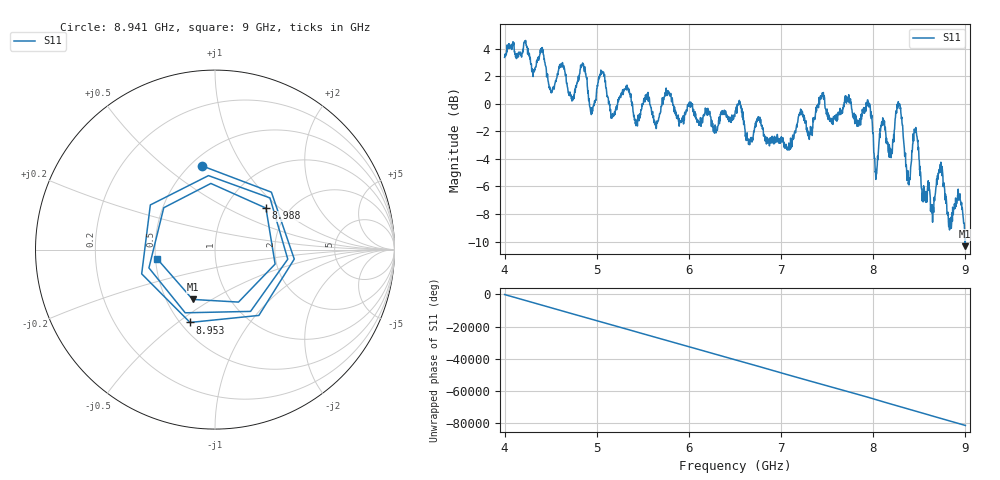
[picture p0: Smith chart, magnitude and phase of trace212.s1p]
! Created with skrf 1.8.0 (http://scikit-rf.org).
# Hz S RI R 50.0
!freq ReS11 ImS11
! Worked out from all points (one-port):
!   1601 points, 4 GHz to 9 GHz, reference 50 ohm
!   lowest |S11| = -10.3 dB at 8.997 GHz (marker M1), VSWR 1.87, Z = 33.8 - j20.7 ohm
!   |S11| at or under -10 dB: 8.994764 GHz to 8.998714 GHz (3.95 MHz wide, 0.0439 % of centre)
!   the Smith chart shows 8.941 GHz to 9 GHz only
!   S11 on the Smith chart (normalised r, x): 8.941 GHz: 0.57, +0.68; 8.953 GHz: 0.56, -0.56; 8.988 GHz: 1.53, +0.82; 9 GHz: 0.51, -0.06
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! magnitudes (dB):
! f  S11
! 4 GHz  3.4
! 4.406 GHz  4.0
! 4.512 GHz  0.8
! 4.625 GHz  2.7
! 4.731 GHz  0.2
! 4.85 GHz  2.8
! 4.947 GHz  -0.7
! 5.05 GHz  2.2
! 5.169 GHz  -0.8
! 5.25 GHz  0.5
! 5.875 GHz  -1.1
! 6.5 GHz  -0.7
! 7.125 GHz  -2.4
! 7.444 GHz  0.6
! 7.75 GHz  0.2
! 7.95 GHz  -0.1
! 8.031 GHz  -4.8
! 8.278 GHz  -0.1
! 8.375 GHz  -4.9
! 8.459 GHz  -1.9
! 8.556 GHz  -6.4
! 8.728 GHz  -4.4
! 8.825 GHz  -8.7
! 8.941 GHz  -6.5
! 8.953 GHz  -7.4
! 8.988 GHz  -8.7
! 8.997 GHz  -10.3
! 9 GHz  -9.7
